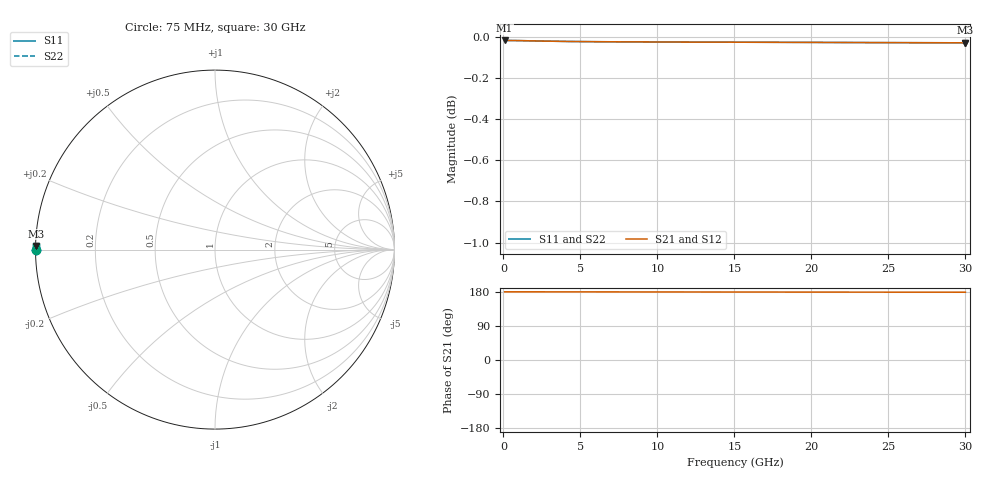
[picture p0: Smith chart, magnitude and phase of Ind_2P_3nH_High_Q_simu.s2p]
# Hz S RI R 50
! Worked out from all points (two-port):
!   400 points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, 75 MHz to 30 GHz, reference 50 ohm
!   highest |S21| = -0.02 dB at 75 MHz (marker M1); lowest = 0.0 dB at 30 GHz (marker M2)
!   |S21| within 3 dB of the highest: start of sweep to end of sweep
!   lowest |S11| = 0.0 dB at 30 GHz (marker M3), VSWR 594.83, Z = 0.0841 + j0.506 ohm
!   |S11| at or under -10 dB: nowhere
!   |S22| runs from 0.0 to 0.0 dB; largest |S21 - S12| = 1.6e-06
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7.5e7  -0.998 7.14e-05  -0.998 7.13e-05  -0.998 7.14e-05  -0.998 7.13e-05
3e8  -0.9979 0.000285  -0.9979 0.000285  -0.9979 0.000285  -0.9979 0.000285
6e8  -0.9979 0.000566  -0.9979 0.000566  -0.9979 0.000566  -0.9979 0.000566
9e8  -0.9979 0.000842  -0.9979 0.000841  -0.9979 0.000842  -0.9979 0.000841
1.2e9  -0.9979 0.00111  -0.9979 0.00111  -0.9979 0.00111  -0.9979 0.00111
1.65e9  -0.9978 0.00149  -0.9978 0.00149  -0.9978 0.00149  -0.9978 0.00149
1.875e9  -0.9977 0.00167  -0.9977 0.00167  -0.9977 0.00167  -0.9977 0.00167
2.175e9  -0.9977 0.0019  -0.9977 0.0019  -0.9977 0.0019  -0.9977 0.0019
2.475e9  -0.9976 0.00212  -0.9976 0.00212  -0.9976 0.00212  -0.9976 0.00212
2.85e9  -0.9976 0.00239  -0.9976 0.00239  -0.9976 0.00239  -0.9976 0.00239
3.6e9  -0.9974 0.00289  -0.9974 0.00289  -0.9974 0.00289  -0.9974 0.00289
4.275e9  -0.9974 0.00332  -0.9974 0.00332  -0.9974 0.00332  -0.9974 0.00332
5.1e9  -0.9973 0.00386  -0.9973 0.00386  -0.9973 0.00386  -0.9973 0.00386
6.15e9  -0.9972 0.00454  -0.9972 0.00454  -0.9972 0.00454  -0.9972 0.00454
7.65e9  -0.9972 0.00552  -0.9972 0.00552  -0.9972 0.00552  -0.9972 0.00552
8.775e9  -0.9971 0.00626  -0.9971 0.00626  -0.9971 0.00626  -0.9971 0.00626
1.005e10  -0.9971 0.00709  -0.9971 0.00709  -0.9971 0.00709  -0.9971 0.00709
1.5075e10  -0.9969 0.0104  -0.9969 0.0104  -0.9969 0.0104  -0.9969 0.0104
2.0025e10  -0.9968 0.0137  -0.9968 0.0137  -0.9968 0.0137  -0.9968 0.0137
2.505e10  -0.9966 0.017  -0.9966 0.017  -0.9966 0.017  -0.9966 0.017
2.7975e10  -0.9965 0.0189  -0.9965 0.0189  -0.9965 0.0189  -0.9965 0.0189
3e10  -0.9964 0.0202  -0.9964 0.0202  -0.9964 0.0202  -0.9964 0.0202
